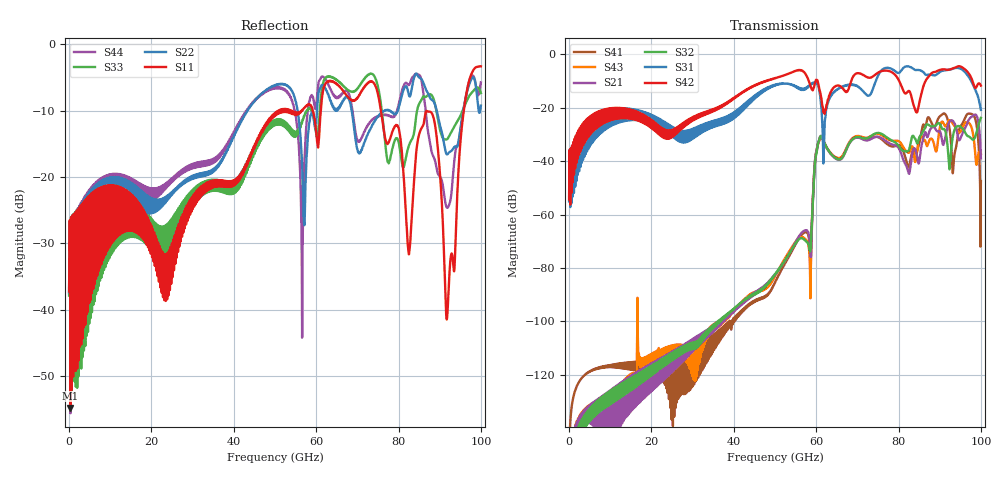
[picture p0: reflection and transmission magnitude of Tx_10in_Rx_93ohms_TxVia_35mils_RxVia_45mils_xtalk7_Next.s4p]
! Info: Touchstone file created by Circ.  Input file=Tx_10in_Rx_93ohms_TxVia_35mils_RxVia_45mils.circ
# Hz S RI R 50
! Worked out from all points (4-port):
!   10000 points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, 10 MHz to 100 GHz, reference 50 ohm
!   strongest paths, dB at 10 MHz, 25.01 GHz, 50.01 GHz, 75.01 GHz, 100 GHz:
!     S42: -54.3, -29.6, -8.9, -6.9, -11.7
!     S31: -55.1, -30.1, -11.4, -8.0, -20.8
!     S32: -180.1, -112.5, -82.3, -29.4, -23.8
!     S21: -175.4, -111.3, -82.3, -30.9, -38.9
!     S43: -174.9, -109.1, -83.2, -29.7, -37.2
!     S41: -162.1, -111.7, -85.5, -31.0, -47.4
!   lowest |S11| = -54.9 dB at 330 MHz (marker M1), VSWR 1.00, Z = 49.9 - j0.165 ohm
!   |S11| at or under -10 dB: start of sweep to 50.9 GHz; 53.85 GHz to 56.58 GHz (2.735 GHz wide, 4.95 % of centre); 75.73 GHz to 95.85 GHz (20.12 GHz wide, 23.5 % of centre)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
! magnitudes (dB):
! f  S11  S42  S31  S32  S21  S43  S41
! 10 MHz  -37.3  -54.3  -55.1  -180.1  -175.4  -174.9  -162.1
! 330 MHz  -54.9  -41.8  -41.9  -154.8  -150.4  -150.1  -136.8
! 50.94 GHz  -10.0  -8.5  -11.1  -80.3  -80.4  -80.5  -82.6
! 60.94 GHz  -11.5  -13.9  -15.0  -30.9  -30.8  -31.1  -31.1
! 73.39 GHz  -5.6  -8.6  -14.4  -30.5  -31.6  -30.5  -31.4
! 91.77 GHz  -41.3  -5.8  -5.9  -32.3  -28.0  -26.1  -23.6
! 100 GHz  -3.3  -11.7  -20.8  -23.8  -38.9  -37.2  -47.4
